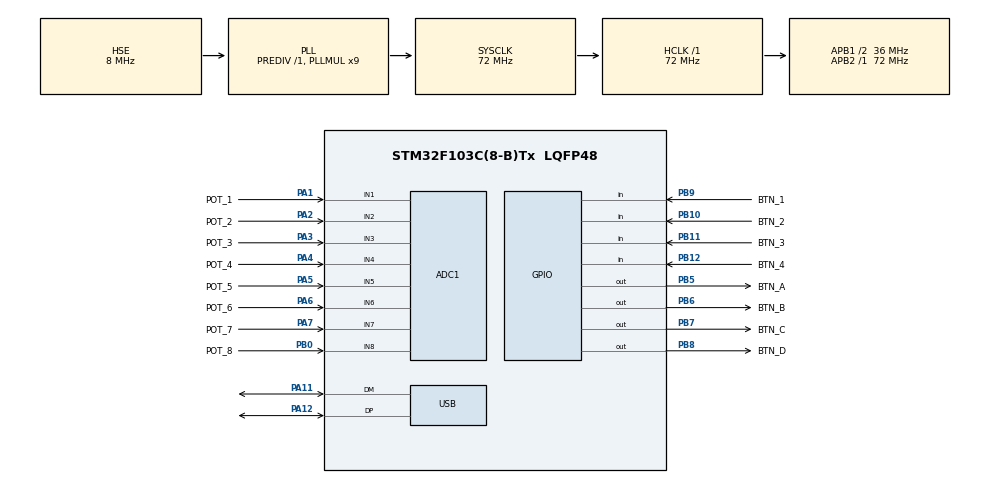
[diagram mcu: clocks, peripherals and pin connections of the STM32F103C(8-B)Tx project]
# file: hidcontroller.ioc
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ADC1.Channel-0\#ChannelRegularConversion=ADC_CHANNEL_1
ADC1.NbrOfConversionFlag=1
ADC1.Rank-0\#ChannelRegularConversion=1
ADC1.SamplingTime-0\#ChannelRegularConversion=ADC_SAMPLETIME_1CYCLE_5
ADC1.master=1
Mcu.Family=STM32F1
Mcu.Name=STM32F103C(8-B)Tx
Mcu.Package=LQFP48
NVIC.PriorityGroup=NVIC_PRIORITYGROUP_4
NVIC.USB_LP_CAN1_RX0_IRQn=true\:0\:0\:false\:false\:true
PA1.GPIO_Label=POT_1
PA1.Signal=ADCx_IN1
PA11.Mode=Device
PA11.Signal=USB_DM
PA12.Mode=Device
PA12.Signal=USB_DP
PA2.GPIO_Label=POT_2
PA2.Signal=ADCx_IN2
PA3.GPIO_Label=POT_3
PA3.Signal=ADCx_IN3
PA4.GPIO_Label=POT_4
PA4.Signal=ADCx_IN4
PA5.GPIO_Label=POT_5
PA5.Signal=ADCx_IN5
PA6.GPIO_Label=POT_6
PA6.Signal=ADCx_IN6
PA7.GPIO_Label=POT_7
PA7.Signal=ADCx_IN7
PB0.GPIO_Label=POT_8
PB0.Signal=ADCx_IN8
PB10.GPIO_Label=BTN_2
PB10.GPIO_PuPd=GPIO_PULLUP
PB10.Signal=GPIO_Input
PB11.GPIO_Label=BTN_3
PB11.GPIO_PuPd=GPIO_PULLUP
PB11.Signal=GPIO_Input
PB12.GPIO_Label=BTN_4
PB12.GPIO_PuPd=GPIO_PULLUP
PB12.Signal=GPIO_Input
PB5.GPIO_Label=BTN_A
PB5.Signal=GPIO_Output
PB6.GPIO_Label=BTN_B
PB6.Signal=GPIO_Output
PB7.GPIO_Label=BTN_C
PB7.Signal=GPIO_Output
PB8.GPIO_Label=BTN_D
PB8.Signal=GPIO_Output
PB9.GPIO_Label=BTN_1
PB9.GPIO_PuPd=GPIO_PULLUP
PB9.Signal=GPIO_Input
PD0-OSC_IN.Mode=HSE-External-Oscillator
PD0-OSC_IN.Signal=RCC_OSC_IN
PD1-OSC_OUT.Mode=HSE-External-Oscillator
PD1-OSC_OUT.Signal=RCC_OSC_OUT
ProjectManager.HeapSize=0x200
ProjectManager.StackSize=0x400
ProjectManager.TargetToolchain=TrueSTUDIO
RCC.ADCPresc=RCC_ADCPCLK2_DIV6
RCC.AHBFreq_Value=72000000
RCC.APB1CLKDivider=RCC_HCLK_DIV2
RCC.APB1Freq_Value=36000000
RCC.APB1TimFreq_Value=72000000
RCC.APB2Freq_Value=72000000
RCC.APB2TimFreq_Value=72000000
RCC.HCLKFreq_Value=72000000
RCC.PLLMUL=RCC_PLL_MUL9
RCC.SYSCLKFreq_VALUE=72000000
RCC.SYSCLKSource=RCC_SYSCLKSOURCE_PLLCLK
RCC.USBFreq_Value=48000000
RCC.USBPrescaler=RCC_USBCLKSOURCE_PLL_DIV1_5
SH.ADCx_IN1.0=ADC1_IN1,IN1
SH.ADCx_IN2.0=ADC1_IN2,IN2
SH.ADCx_IN3.0=ADC1_IN3,IN3
SH.ADCx_IN4.0=ADC1_IN4,IN4
SH.ADCx_IN5.0=ADC1_IN5,IN5
SH.ADCx_IN6.0=ADC1_IN6,IN6
SH.ADCx_IN7.0=ADC1_IN7,IN7
SH.ADCx_IN8.0=ADC1_IN8,IN8
USB_DEVICE.CLASS_NAME_FS=CUSTOMHID
USB_DEVICE.USBD_CUSTOMHID_OUTREPORT_BUF_SIZE=64
USB_DEVICE.USBD_CUSTOM_HID_REPORT_DESC_SIZE=110
USB_DEVICE.VirtualMode=CustomHid
USB_DEVICE.VirtualModeFS=Custom_Hid_FS
VP_SYS_VS_ND.Mode=No_Debug
VP_USB_DEVICE_VS_USB_DEVICE_CUSTOM_HID_FS.Mode=CUSTOM_HID_FS
board=hidcontroller

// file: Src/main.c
/**
  ******************************************************************************
  * File Name          : main.c
  * Description        : Main program body
  ******************************************************************************
  * This notice applies to any and all portions of this file
  * that are not between comment pairs USER CODE BEGIN and
  * USER CODE END. Other portions of this file, whether
  * inserted by the user or by software development tools
  * are owned by their respective copyright owners.
  *
  * Copyright (c) 2017 STMicroelectronics International N.V.
  * All rights reserved.
  *
  * Redistribution and use in source and binary forms, with or without
  * modification, are permitted, provided that the following conditions are met:
  *
  * 1. Redistribution of source code must retain the above copyright notice,
  *    this list of conditions and the following disclaimer.
  * 2. Redistributions in binary form must reproduce the above copyright notice,
  *    this list of conditions and the following disclaimer in the documentation
  *    and/or other materials provided with the distribution.
  * 3. Neither the name of STMicroelectronics nor the names of other
  *    contributors to this software may be used to endorse or promote products
  *    derived from this software without specific written permission.
  * 4. This software, including modifications and/or derivative works of this
  *    software, must execute solely and exclusively on microcontroller or
  *    microprocessor devices manufactured by or for STMicroelectronics.
  * 5. Redistribution and use of this software other than as permitted under
  *    this license is void and will automatically terminate your rights under
  *    this license.
  *
  * THIS SOFTWARE IS PROVIDED BY STMICROELECTRONICS AND CONTRIBUTORS "AS IS"
  * AND ANY EXPRESS, IMPLIED OR STATUTORY WARRANTIES, INCLUDING, BUT NOT
  * LIMITED TO, THE IMPLIED WARRANTIES OF MERCHANTABILITY, FITNESS FOR A
  * PARTICULAR PURPOSE AND NON-INFRINGEMENT OF THIRD PARTY INTELLECTUAL PROPERTY
  * RIGHTS ARE DISCLAIMED TO THE FULLEST EXTENT PERMITTED BY LAW. IN NO EVENT
  * SHALL STMICROELECTRONICS OR CONTRIBUTORS BE LIABLE FOR ANY DIRECT, INDIRECT,
  * INCIDENTAL, SPECIAL, EXEMPLARY, OR CONSEQUENTIAL DAMAGES (INCLUDING, BUT NOT
  * LIMITED TO, PROCUREMENT OF SUBSTITUTE GOODS OR SERVICES; LOSS OF USE, DATA,
  * OR PROFITS; OR BUSINESS INTERRUPTION) HOWEVER CAUSED AND ON ANY THEORY OF
  * LIABILITY, WHETHER IN CONTRACT, STRICT LIABILITY, OR TORT (INCLUDING
  * NEGLIGENCE OR OTHERWISE) ARISING IN ANY WAY OUT OF THE USE OF THIS SOFTWARE,
  * EVEN IF ADVISED OF THE POSSIBILITY OF SUCH DAMAGE.
  *
  ******************************************************************************
  */
#include "main.h"
#include "stm32f1xx_hal.h"
#include "usb_device.h"
#include "USBkeys.h"

ADC_HandleTypeDef hadc1;

/* USER CODE BEGIN PV */
/* Private variables ---------------------------------------------------------*/

/* USER CODE END PV */

void SystemClock_Config(void);
static void MX_GPIO_Init(void);
static void MX_ADC1_Init(void);

/* USER CODE BEGIN PFP */
/* Private function prototypes -----------------------------------------------*/
uint8_t USBD_CUSTOM_HID_SendReport     (USBD_HandleTypeDef  *pdev,
                                 uint8_t *report,
                                 uint16_t len);
/* USER CODE END PFP */

/* USER CODE BEGIN 0 */
void ADCChangeChannel(uint32_t channel);
uint32_t ADCNext(uint32_t adcnow);

/* USER CODE END 0 */

int main(void)
{

  /* USER CODE BEGIN 1 */
	 /* USER CODE BEGIN 1 */
	struct customHID_t {					//USB HID Data report structure"!!ZYYY______
		uint8_t buttons;
		int8_t x;
		int8_t y;
		int8_t wheel;
		uint8_t modifier; //LeftControl, LeftShift, LeftAlt, Left GUI, RightControl,  RightShift, RightAlt, RightGUI
		int8_t key[6];
	};
	struct customHID_t customHID;
	customHID.buttons = 0;
	customHID.x = 0;
	customHID.y = 0;
	customHID.wheel = 0;
	customHID.modifier = 0;
	customHID.key[0] = 0;
	customHID.key[1] = 0;
	customHID.key[2] = 0;
	customHID.key[3] = 0;
	customHID.key[4] = 0;
	customHID.key[5] = 0;

  /* USER CODE END 1 */

  /* MCU Configuration----------------------------------------------------------*/

  /* Reset of all peripherals, Initializes the Flash interface and the Systick. */
  HAL_Init();

  /* Configure the system clock */
  SystemClock_Config();

  /* Initialize all configured peripherals */
  MX_GPIO_Init();
  MX_USB_DEVICE_Init();
  MX_ADC1_Init();

  /* USER CODE BEGIN 2 */
  uint32_t adc_chan[6] = {ADC_CHANNEL_1,
 		  	  	  	  	  ADC_CHANNEL_2,
 						  ADC_CHANNEL_3,
 						  ADC_CHANNEL_4,
 						  ADC_CHANNEL_5,
 						  ADC_CHANNEL_6};

  static uint32_t adc_temp[6] = {0,0,0,0,0,0};
  static uint32_t adc_current = 0;
  static uint8_t adc_num = 0;

  //initialize adc values
  while(adc_num < 6 ){
	  adc_temp[adc_num] = ADCNext(adc_chan[adc_num]);
	  adc_num++;
  }
  adc_num = 0; //adc back to channel 0
  /* USER CODE END 2 */
  static uint8_t now = 0;
  static uint8_t then = 0;
  /* Infinite loop */
  while (1)
  {

  /* USER CODE BEGIN 3 */

	  now = adc_current/512;
	  then = adc_temp[adc_num]/512;

	  if(now != then){

		  customHID.key[0] = A_KEY + now;
		  customHID.modifier = LSHIFT;

		  USBD_CUSTOM_HID_SendReport(&hUsbDeviceFS, &customHID, sizeof(struct customHID_t)); //Send HID report with selected button
		  HAL_Delay(10);
		  USBD_CUSTOM_HID_SendReport(&hUsbDeviceFS, &customHID, sizeof(struct customHID_t));
		  HAL_Delay(10);
		  customHID.modifier = 0;
		  customHID.key[0] = 0;							//Release keys

		  USBD_CUSTOM_HID_SendReport(&hUsbDeviceFS, &customHID, sizeof(struct customHID_t)); //Send HID report with selected button		  adc_temp[adc_num] = adc_current;
		  HAL_Delay(10);
		  USBD_CUSTOM_HID_SendReport(&hUsbDeviceFS, &customHID, sizeof(struct customHID_t)); //Send HID report with selected button		  adc_temp[adc_num] = adc_current;
		  HAL_Delay(10);
		  adc_temp[adc_num] = adc_current;

	  }

	  adc_num = (adc_num + 1)%5;
	  ADCChangeChannel(adc_chan[adc_num]);				//configure adc to GPIO PA1
	  HAL_ADC_Start(&hadc1);						//Do initial conversion
	  HAL_ADC_PollForConversion(&hadc1, 200);
	  adc_current = HAL_ADC_GetValue(&hadc1);		//initialize variable for adc conversions
	  HAL_ADC_Stop(&hadc1);

	  //HAL_Delay(5);
	  USBD_CUSTOM_HID_SendReport(&hUsbDeviceFS, &customHID, sizeof(struct customHID_t));

  }
  /* USER CODE END 3 */

}

/** System Clock Configuration
*/
void SystemClock_Config(void)
{

  RCC_OscInitTypeDef RCC_OscInitStruct;
  RCC_ClkInitTypeDef RCC_ClkInitStruct;
  RCC_PeriphCLKInitTypeDef PeriphClkInit;

    /**Initializes the CPU, AHB and APB busses clocks
    */
  RCC_OscInitStruct.OscillatorType = RCC_OSCILLATORTYPE_HSE;
  RCC_OscInitStruct.HSEState = RCC_HSE_ON;
  RCC_OscInitStruct.HSEPredivValue = RCC_HSE_PREDIV_DIV1;
  RCC_OscInitStruct.HSIState = RCC_HSI_ON;
  RCC_OscInitStruct.PLL.PLLState = RCC_PLL_ON;
  RCC_OscInitStruct.PLL.PLLSource = RCC_PLLSOURCE_HSE;
  RCC_OscInitStruct.PLL.PLLMUL = RCC_PLL_MUL9;
  if (HAL_RCC_OscConfig(&RCC_OscInitStruct) != HAL_OK)
  {
    _Error_Handler(__FILE__, __LINE__);
  }

    /**Initializes the CPU, AHB and APB busses clocks
    */
  RCC_ClkInitStruct.ClockType = RCC_CLOCKTYPE_HCLK|RCC_CLOCKTYPE_SYSCLK
                              |RCC_CLOCKTYPE_PCLK1|RCC_CLOCKTYPE_PCLK2;
  RCC_ClkInitStruct.SYSCLKSource = RCC_SYSCLKSOURCE_PLLCLK;
  RCC_ClkInitStruct.AHBCLKDivider = RCC_SYSCLK_DIV1;
  RCC_ClkInitStruct.APB1CLKDivider = RCC_HCLK_DIV2;
  RCC_ClkInitStruct.APB2CLKDivider = RCC_HCLK_DIV1;

  if (HAL_RCC_ClockConfig(&RCC_ClkInitStruct, FLASH_LATENCY_2) != HAL_OK)
  {
    _Error_Handler(__FILE__, __LINE__);
  }

  PeriphClkInit.PeriphClockSelection = RCC_PERIPHCLK_ADC|RCC_PERIPHCLK_USB;
  PeriphClkInit.AdcClockSelection = RCC_ADCPCLK2_DIV6;
  PeriphClkInit.UsbClockSelection = RCC_USBCLKSOURCE_PLL_DIV1_5;
  if (HAL_RCCEx_PeriphCLKConfig(&PeriphClkInit) != HAL_OK)
  {
    _Error_Handler(__FILE__, __LINE__);
  }

    /**Configure the Systick interrupt time
    */
  HAL_SYSTICK_Config(HAL_RCC_GetHCLKFreq()/1000);

    /**Configure the Systick
    */
  HAL_SYSTICK_CLKSourceConfig(SYSTICK_CLKSOURCE_HCLK);

  /* SysTick_IRQn interrupt configuration */
  HAL_NVIC_SetPriority(SysTick_IRQn, 0, 0);
}

/* ADC1 init function */
static void MX_ADC1_Init(void)
{

  ADC_ChannelConfTypeDef sConfig;

    /**Common config
    */
  hadc1.Instance = ADC1;
  hadc1.Init.ScanConvMode = ADC_SCAN_DISABLE;
  hadc1.Init.ContinuousConvMode = DISABLE;
  hadc1.Init.DiscontinuousConvMode = DISABLE;
  hadc1.Init.ExternalTrigConv = ADC_SOFTWARE_START;
  hadc1.Init.DataAlign = ADC_DATAALIGN_RIGHT;
  hadc1.Init.NbrOfConversion = 1;
  if (HAL_ADC_Init(&hadc1) != HAL_OK)
  {
    _Error_Handler(__FILE__, __LINE__);
  }

    /**Configure Regular Channel
    */
  sConfig.Channel = ADC_CHANNEL_1;
  sConfig.Rank = 1;
  sConfig.SamplingTime = ADC_SAMPLETIME_1CYCLE_5;
  if (HAL_ADC_ConfigChannel(&hadc1, &sConfig) != HAL_OK)
  {
    _Error_Handler(__FILE__, __LINE__);
  }

}

/** Configure pins as
        * Analog
        * Input
        * Output
        * EVENT_OUT
        * EXTI
*/
static void MX_GPIO_Init(void)
{

  GPIO_InitTypeDef GPIO_InitStruct;

  /* GPIO Ports Clock Enable */
  __HAL_RCC_GPIOD_CLK_ENABLE();
  __HAL_RCC_GPIOA_CLK_ENABLE();
  __HAL_RCC_GPIOB_CLK_ENABLE();

  /*Configure GPIO pin Output Level */
  HAL_GPIO_WritePin(GPIOB, BTN_A_Pin|BTN_B_Pin|BTN_C_Pin|BTN_D_Pin, GPIO_PIN_RESET);

  /*Configure GPIO pins : BTN_2_Pin BTN_3_Pin BTN_4_Pin BTN_1_Pin */
  GPIO_InitStruct.Pin = BTN_2_Pin|BTN_3_Pin|BTN_4_Pin|BTN_1_Pin;
  GPIO_InitStruct.Mode = GPIO_MODE_INPUT;
  GPIO_InitStruct.Pull = GPIO_PULLUP;
  HAL_GPIO_Init(GPIOB, &GPIO_InitStruct);

  /*Configure GPIO pins : BTN_A_Pin BTN_B_Pin BTN_C_Pin BTN_D_Pin */
  GPIO_InitStruct.Pin = BTN_A_Pin|BTN_B_Pin|BTN_C_Pin|BTN_D_Pin;
  GPIO_InitStruct.Mode = GPIO_MODE_OUTPUT_PP;
  GPIO_InitStruct.Speed = GPIO_SPEED_FREQ_LOW;
  HAL_GPIO_Init(GPIOB, &GPIO_InitStruct);

}

/* USER CODE BEGIN 4 */
void ADCChangeChannel(uint32_t channel){

	ADC_ChannelConfTypeDef sConfig;

	sConfig.Channel = channel;
	sConfig.Rank = 1;
	sConfig.SamplingTime = ADC_SAMPLETIME_1CYCLE_5;
	if (HAL_ADC_ConfigChannel(&hadc1, &sConfig) != HAL_OK)
	{
		_Error_Handler(__FILE__, __LINE__);
	}
}
uint32_t ADCNext(uint32_t adcnow){
	uint32_t adc_ret = 0;
	ADCChangeChannel(adcnow);				//configure adc to GPIO PA1
	HAL_ADC_Start(&hadc1);						//Do initial conversion
	HAL_ADC_PollForConversion(&hadc1, 200);
	adc_ret = HAL_ADC_GetValue(&hadc1);		//initialize variable for adc conversions
	HAL_ADC_Stop(&hadc1);
	return adc_ret;
}

/* USER CODE END 4 */

void _Error_Handler(char * file, int line)
{
  while(1)
  {
  }
}

/************************ (C) COPYRIGHT STMicroelectronics *****END OF FILE****/
